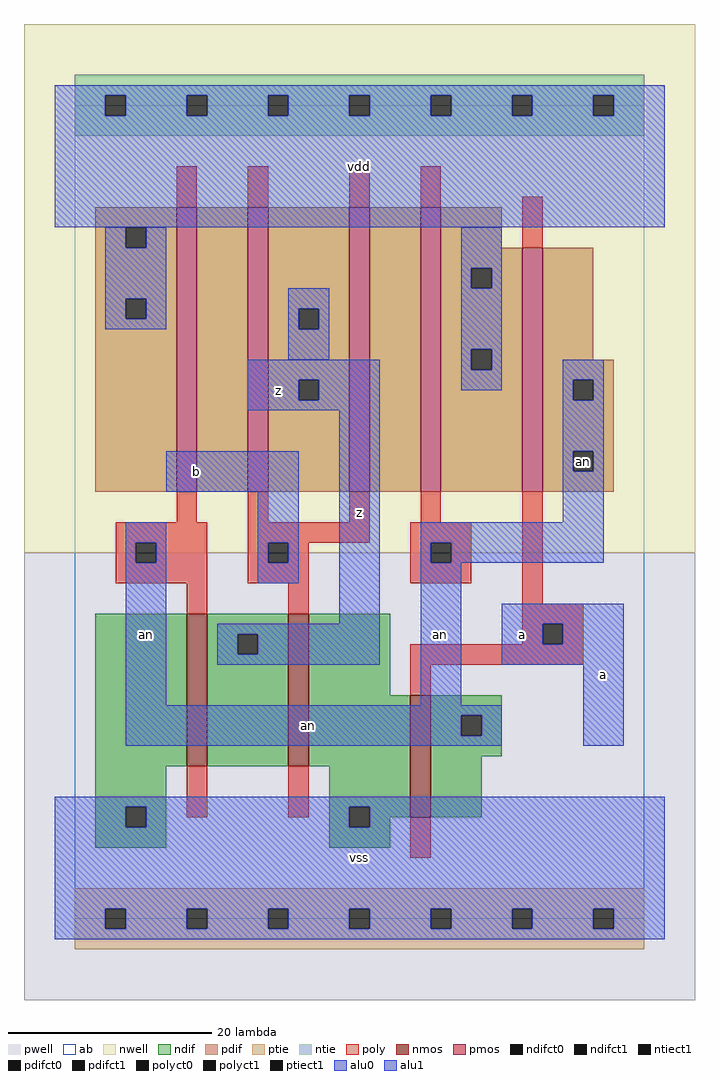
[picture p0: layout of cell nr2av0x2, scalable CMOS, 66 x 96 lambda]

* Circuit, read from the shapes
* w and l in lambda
.subckt nr2av0x2 a an b vdd vss z
M1 z an vss vss nfet w=15 l=2
M2 vss b z vss nfet w=15 l=2
M3 an a vss vss nfet w=12 l=2
M4 n1 an vdd vdd pfet w=28 l=2
M5 z b n1 vdd pfet w=28 l=2
M6 n2 b z vdd pfet w=28 l=2
M7 vdd an n2 vdd pfet w=28 l=2
M8 an a vdd vdd pfet w=24 l=2
.ends

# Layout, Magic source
magic
tech scmos
<< ab >>
rect 0 0 56 80
<< nwell >>
rect -5 36 61 88
<< pwell >>
rect -5 -8 61 36
<< poly >>
rect 10 70 12 74
rect 17 70 19 74
rect 27 70 29 74
rect 34 70 36 74
rect 44 66 46 71
rect 10 39 12 42
rect 17 39 19 42
rect 27 39 29 42
rect 34 39 36 42
rect 4 37 13 39
rect 4 35 6 37
rect 8 35 13 37
rect 4 33 13 35
rect 17 37 29 39
rect 33 37 39 39
rect 17 35 19 37
rect 21 35 23 37
rect 17 33 23 35
rect 33 35 35 37
rect 37 35 39 37
rect 33 33 39 35
rect 11 30 13 33
rect 21 30 23 33
rect 44 31 46 42
rect 44 29 50 31
rect 44 27 46 29
rect 48 27 50 29
rect 33 25 50 27
rect 33 22 35 25
rect 11 10 13 15
rect 21 10 23 15
rect 33 6 35 10
<< ndif >>
rect 2 15 11 30
rect 13 28 21 30
rect 13 26 16 28
rect 18 26 21 28
rect 13 15 21 26
rect 23 22 31 30
rect 23 15 33 22
rect 2 11 9 15
rect 2 9 5 11
rect 7 9 9 11
rect 25 11 33 15
rect 2 7 9 9
rect 25 9 27 11
rect 29 10 33 11
rect 35 20 42 22
rect 35 18 38 20
rect 40 18 42 20
rect 35 16 42 18
rect 35 10 40 16
rect 29 9 31 10
rect 25 7 31 9
<< pdif >>
rect 2 68 10 70
rect 2 66 5 68
rect 7 66 10 68
rect 2 61 10 66
rect 2 59 5 61
rect 7 59 10 61
rect 2 42 10 59
rect 12 42 17 70
rect 19 60 27 70
rect 19 58 22 60
rect 24 58 27 60
rect 19 53 27 58
rect 19 51 22 53
rect 24 51 27 53
rect 19 42 27 51
rect 29 42 34 70
rect 36 66 42 70
rect 36 64 44 66
rect 36 62 39 64
rect 41 62 44 64
rect 36 56 44 62
rect 36 54 39 56
rect 41 54 44 56
rect 36 42 44 54
rect 46 55 51 66
rect 46 53 53 55
rect 46 51 49 53
rect 51 51 53 53
rect 46 46 53 51
rect 46 44 49 46
rect 51 44 53 46
rect 46 42 53 44
<< alu1 >>
rect -2 81 58 82
rect -2 79 3 81
rect 5 79 11 81
rect 13 79 19 81
rect 21 79 27 81
rect 29 79 35 81
rect 37 79 43 81
rect 45 79 51 81
rect 53 79 58 81
rect -2 68 58 79
rect 17 53 30 55
rect 17 51 22 53
rect 24 51 30 53
rect 17 50 30 51
rect 9 42 22 46
rect 18 37 22 42
rect 18 35 19 37
rect 21 35 22 37
rect 18 33 22 35
rect 26 29 30 50
rect 14 28 30 29
rect 14 26 16 28
rect 18 26 30 28
rect 14 25 30 26
rect 42 29 54 31
rect 42 27 46 29
rect 48 27 54 29
rect 42 25 54 27
rect 50 17 54 25
rect -2 11 58 12
rect -2 9 5 11
rect 7 9 27 11
rect 29 9 58 11
rect -2 1 58 9
rect -2 -1 3 1
rect 5 -1 11 1
rect 13 -1 19 1
rect 21 -1 27 1
rect 29 -1 35 1
rect 37 -1 43 1
rect 45 -1 51 1
rect 53 -1 58 1
rect -2 -2 58 -1
<< ptie >>
rect 0 1 56 3
rect 0 -1 3 1
rect 5 -1 11 1
rect 13 -1 19 1
rect 21 -1 27 1
rect 29 -1 35 1
rect 37 -1 43 1
rect 45 -1 51 1
rect 53 -1 56 1
rect 0 -3 56 -1
<< ntie >>
rect 0 81 56 83
rect 0 79 3 81
rect 5 79 11 81
rect 13 79 19 81
rect 21 79 27 81
rect 29 79 35 81
rect 37 79 43 81
rect 45 79 51 81
rect 53 79 56 81
rect 0 77 56 79
<< nmos >>
rect 11 15 13 30
rect 21 15 23 30
rect 33 10 35 22
<< pmos >>
rect 10 42 12 70
rect 17 42 19 70
rect 27 42 29 70
rect 34 42 36 70
rect 44 42 46 66
<< polyct0 >>
rect 6 35 8 37
rect 35 35 37 37
<< polyct1 >>
rect 19 35 21 37
rect 46 27 48 29
<< ndifct0 >>
rect 38 18 40 20
<< ndifct1 >>
rect 16 26 18 28
rect 5 9 7 11
rect 27 9 29 11
<< ntiect1 >>
rect 3 79 5 81
rect 11 79 13 81
rect 19 79 21 81
rect 27 79 29 81
rect 35 79 37 81
rect 43 79 45 81
rect 51 79 53 81
<< ptiect1 >>
rect 3 -1 5 1
rect 11 -1 13 1
rect 19 -1 21 1
rect 27 -1 29 1
rect 35 -1 37 1
rect 43 -1 45 1
rect 51 -1 53 1
<< pdifct0 >>
rect 5 66 7 68
rect 5 59 7 61
rect 22 58 24 60
rect 39 62 41 64
rect 39 54 41 56
rect 49 51 51 53
rect 49 44 51 46
<< pdifct1 >>
rect 22 51 24 53
<< alu0 >>
rect 3 66 5 68
rect 7 66 9 68
rect 3 61 9 66
rect 38 64 42 68
rect 38 62 39 64
rect 41 62 42 64
rect 3 59 5 61
rect 7 59 9 61
rect 3 58 9 59
rect 21 60 25 62
rect 21 58 22 60
rect 24 58 25 60
rect 21 55 25 58
rect 38 56 42 62
rect 38 54 39 56
rect 41 54 42 56
rect 38 52 42 54
rect 48 53 52 55
rect 5 37 9 39
rect 5 35 6 37
rect 8 35 9 37
rect 5 21 9 35
rect 48 51 49 53
rect 51 51 52 53
rect 48 46 52 51
rect 48 44 49 46
rect 51 44 52 46
rect 48 39 52 44
rect 34 37 52 39
rect 34 35 35 37
rect 37 35 52 37
rect 34 21 38 35
rect 5 20 42 21
rect 5 18 38 20
rect 40 18 42 20
rect 5 17 42 18
<< labels >>
rlabel alu0 7 28 7 28 6 an
rlabel alu0 36 28 36 28 6 an
rlabel alu0 23 19 23 19 6 an
rlabel pdifct0 50 45 50 45 6 an
rlabel alu1 12 44 12 44 6 b
rlabel alu1 20 52 20 52 6 z
rlabel alu1 28 6 28 6 6 vss
rlabel alu1 28 40 28 40 6 z
rlabel alu1 28 74 28 74 6 vdd
rlabel alu1 44 28 44 28 6 a
rlabel alu1 52 24 52 24 6 a
<< end >>
